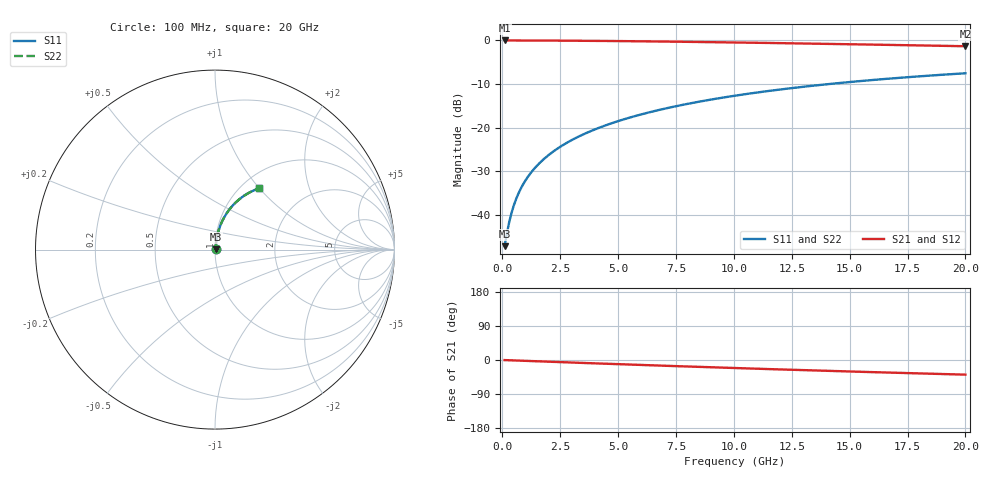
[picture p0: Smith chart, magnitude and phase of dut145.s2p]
! Touchstone file exported from HFSS 2024.1.0
!  File:  C:/UserFiles/LocalFiles/RDL_TSV_Batchsim/temp_RDL_bottom_145_1778697139.aedt
!  Generated:  02:34:45 AM May 14, 2026
!  Design:  RDL_bottom
!  Project:  temp_RDL_bottom_145_1778697139
!  Setup:  Setup1
!  Solution:  Sweep
! Variables:
!  dtsv = 10.80580581um
!  hbump = 3um
!  htsv = 78.11um
!  ldown = 530.79um
!  lrdl = 100um
!  p = 40
!  p1 = 41.87um
!  rhole = 1um
!  t = 450um
!  tdown = 4.34um
!  trdl = 3.915915916um
!  wdown = 12.35um
!  wrdl = 20um
# GHz S MA R 50.000000
! Terminal data exported
! Port[1] = RDL1_T1
! Port[2] = RDL1_T2
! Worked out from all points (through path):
!   200 points, 100 MHz to 20 GHz, reference 50 ohm
!   highest |S21| = -0.03 dB at 100 MHz (marker M1); lowest = -1.4 dB at 20 GHz (marker M2)
!   group delay of S21, straight-line fit = 5.36 ps
!   lowest |S11| = -47.2 dB at 100 MHz (marker M3), VSWR 1.01, Z = 50.4 + j0.251 ohm
!   |S11| at or under -10 dB: start of sweep to 14.16 GHz
!   |S22| runs from -47.2 to -7.6 dB; largest |S21 - S12| = 3.2e-15
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0.1  0.004361 34.9  0.9964 -0.2  0.9964 -0.2  0.004361 34.9
! Gamma 0 0 0 0
! Port Impedance 50 0 50 0
0.2  0.00613 54.2  0.9963 -0.5  0.9963 -0.5  0.006129 54.2
0.3  0.008262 64.1  0.9962 -0.7  0.9962 -0.7  0.008258 64.1
0.4  0.01053 69.7  0.9961 -0.9  0.9961 -0.9  0.01052 69.7
0.5  0.01285 73.1  0.996 -1.1  0.996 -1.1  0.01285 73.1
0.6  0.01521 75.4  0.9958 -1.4  0.9958 -1.4  0.0152 75.4
0.8  0.01995 78.1  0.9956 -1.8  0.9956 -1.8  0.01994 78.1
1.1  0.02708 80.0  0.9951 -2.5  0.9951 -2.5  0.02707 80.0
1.5  0.03656 81.1  0.9944 -3.4  0.9944 -3.4  0.03656 81.1
1.8  0.04364 81.4  0.9937 -4.0  0.9937 -4.0  0.04364 81.4
2.1  0.05071 81.5  0.9929 -4.7  0.9929 -4.7  0.0507 81.5
2.7  0.0648 81.3  0.9911 -6.0  0.9911 -6.0  0.0648 81.3
3.5  0.08352 80.6  0.988 -7.8  0.988 -7.8  0.08352 80.6
4.2  0.09985 79.8  0.9847 -9.3  0.9847 -9.3  0.09985 79.8
5  0.1184 78.7  0.9805 -11.0  0.9805 -11.0  0.1184 78.7
5.9  0.1392 77.4  0.9752 -12.9  0.9752 -12.9  0.1392 77.4
6.8  0.1597 76.0  0.9693 -14.8  0.9693 -14.8  0.1597 76.0
8.3  0.1935 73.6  0.9586 -17.8  0.9586 -17.8  0.1935 73.6
10.1  0.2329 70.6  0.9445 -21.3  0.9445 -21.3  0.2329 70.6
13.4  0.3013 65.1  0.9163 -27.5  0.9163 -27.5  0.3013 65.1
16.7  0.3636 59.6  0.8863 -33.2  0.8863 -33.2  0.3636 59.6
20  0.419 54.4  0.8556 -38.7  0.8556 -38.7  0.4189 54.4
